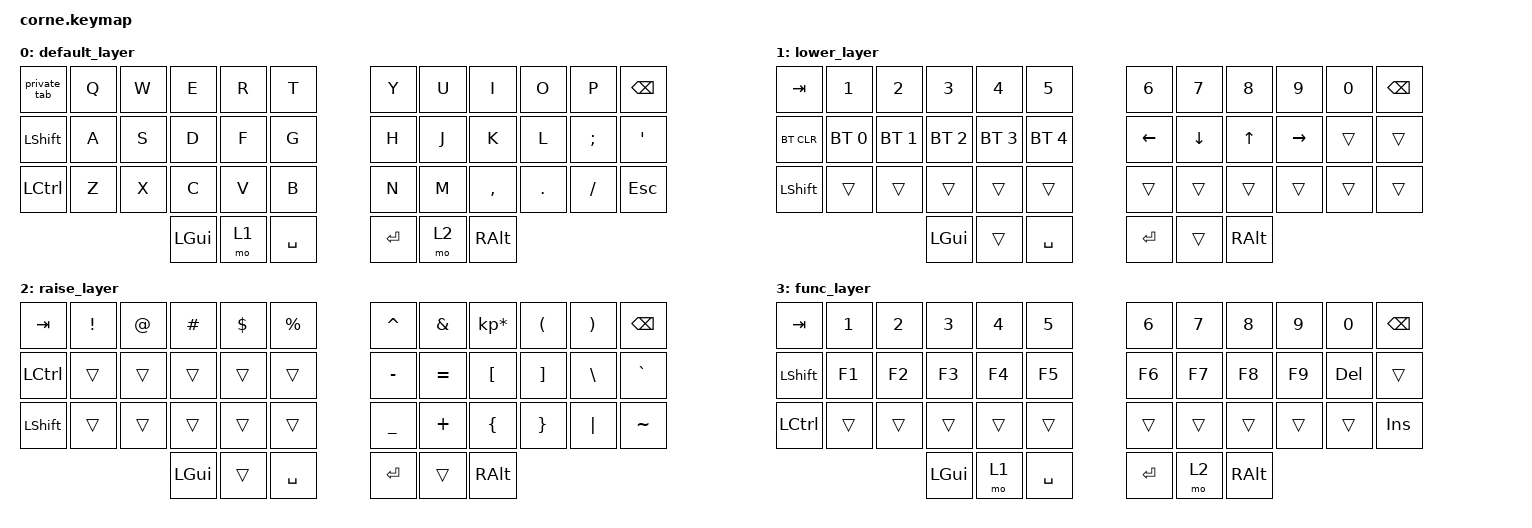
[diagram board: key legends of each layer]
/*
 * Copyright (c) 2020 The ZMK Contributors
 *
 * SPDX-License-Identifier: MIT
 */

#include <behaviors.dtsi>
#include <dt-bindings/zmk/keys.h>
#include <dt-bindings/zmk/bt.h>

/ {
    macros {
        private_tab: private_tab {
            label = "private_tab";
            compatible = "zmk,behavior-macro";
            #binding-cells = <0>;
            bindings
                = <&macro_press &kp LCTRL &kp LSHFT>
                , <&macro_tap &kp N>
                , <&macro_release &kp LCTRL &kp LSHFT>
                ;
        };
    };
};

/ {
    combos {
        compatible = "zmk,combos";
        combo_func {
            timeout-ms = <50>;
            key-positions = <37 40>;
            bindings = <&tog 3>;
        };
    };
};
/ {
        keymap {
                compatible = "zmk,keymap";

                default_layer {
// -----------------------------------------------------------------------------------------
// |  TAB |  Q  |  W  |  E  |  R  |  T  |   |  Y  |  U   |  I  |  O  |  P  | BKSP |
// | SHFT |  A  |  S  |  D  |  F  |  G  |   |  H  |  J   |  K  |  L  | ;  |  '   |
// | CTRL |  Z  |  X  |  C  |  V  |  B  |   |  N  |  M   |  ,  |  .  |  /  | ESC  |
//                    | GUI | LWR | SPC |   | ENT | RSE  | ALT |
                        bindings = <
   &private_tab   &kp Q &kp W &kp E &kp R &kp T   &kp Y &kp U  &kp I     &kp O   &kp P    &kp BSPC
   &kp LSHFT &kp A &kp S &kp D &kp F &kp G   &kp H &kp J  &kp K     &kp L   &kp SEMI &kp SQT
   &kp LCTRL &kp Z &kp X &kp C &kp V &kp B   &kp N &kp M  &kp COMMA &kp DOT &kp FSLH &kp ESC
                  &kp LGUI &mo 1 &kp SPACE   &kp RET &mo 2 &kp RALT
                        >;
                };
                lower_layer {
// -----------------------------------------------------------------------------------------
// |  TAB |  1  |  2  |  3  |  4  |  5  |   |  6  |  7  |  8  |  9  |  0  | BKSP |
// | BTCLR| BT1 | BT2 | BT3 | BT4 | BT5 |   | LFT | DWN |  UP | RGT |     |      |
// | SHFT |     |     |     |     |     |   |     |     |     |     |     |      |
//                    | GUI |     | SPC |   | ENT |     | ALT |
                        bindings = <
   &kp TAB    &kp N1       &kp N2       &kp N3       &kp N4       &kp N5         &kp N6   &kp N7   &kp N8 &kp N9    &kp N0 &kp BSPC
   &bt BT_CLR &bt BT_SEL 0 &bt BT_SEL 1 &bt BT_SEL 2 &bt BT_SEL 3 &bt BT_SEL 4   &kp LEFT &kp DOWN &kp UP &kp RIGHT &trans &trans
   &kp LSHFT  &trans       &trans       &trans       &trans       &trans         &trans   &trans   &trans &trans    &trans &trans
                          	        &kp LGUI     &trans       &kp SPACE      &kp RET  &trans   &kp RALT
                        >;
                };

                raise_layer {
// -----------------------------------------------------------------------------------------
// |  TAB |  !  |  @  |  #  |  $  |  %  |   |  ^  |  &  |  *  |  (  |  )  | BKSP |
// | CTRL |     |     |     |     |     |   |  -  |  =  |  [  |  ]  |  \  |  `   |
// | SHFT |     |     |     |     |     |   |  _  |  +  |  {  |  }  | "|" |  ~   |
//                    | GUI |     | SPC |   | ENT |     | ALT |
                        bindings = <
   &kp  TAB  &kp EXCL &kp AT &kp HASH &kp DLLR &kp PRCNT   &kp CARET &kp AMPS  &kp KP_MULTIPLY &kp LPAR &kp RPAR &kp BSPC
   &kp LCTRL &trans   &trans &trans   &trans   &trans      &kp MINUS &kp EQUAL &kp LBKT        &kp RBKT &kp BSLH &kp GRAVE
   &kp LSHFT &trans   &trans &trans   &trans   &trans      &kp UNDER &kp PLUS  &kp LBRC        &kp RBRC &kp PIPE &kp TILDE
                    	     &kp LGUI &trans   &kp SPACE   &kp RET   &trans    &kp RALT
                        >;
                };

                func_layer {
// -----------------------------------------------------------------------------------------
// |  TAB |  1  |  2  |  3  |  4  |  5  |   |  6  |  7  |  8  |  9  |  0 | BKSP |
// | CTRL | F1  | F2  | F3  | F4  |  F5 |   |  F6 |  F7 |  F8 | F9  | del|     |
// | SHFT |     |     |     |     |     |   |  _  |     |     |     | ins| ESC |
//                    | GUI |     | SPC |   | ENT |     | ALT |
                        bindings = <
   &kp TAB   &kp N1 &kp N2 &kp N3 &kp N4 &kp N5   &kp N6 &kp N7  &kp N8     &kp N9   &kp N0    &kp BSPC
   &kp LSHFT &kp F1 &kp F2 &kp F3 &kp F4 &kp F5   &kp F6 &kp F7  &kp F8     &kp F9   &kp DEL &trans
   &kp LCTRL &trans &trans &trans &trans  &trans   &trans &trans  &trans &trans &trans &kp INS
                  &kp LGUI &mo 1 &kp SPACE   &kp RET &mo 2 &kp RALT
                        >;
                };
        };
};

